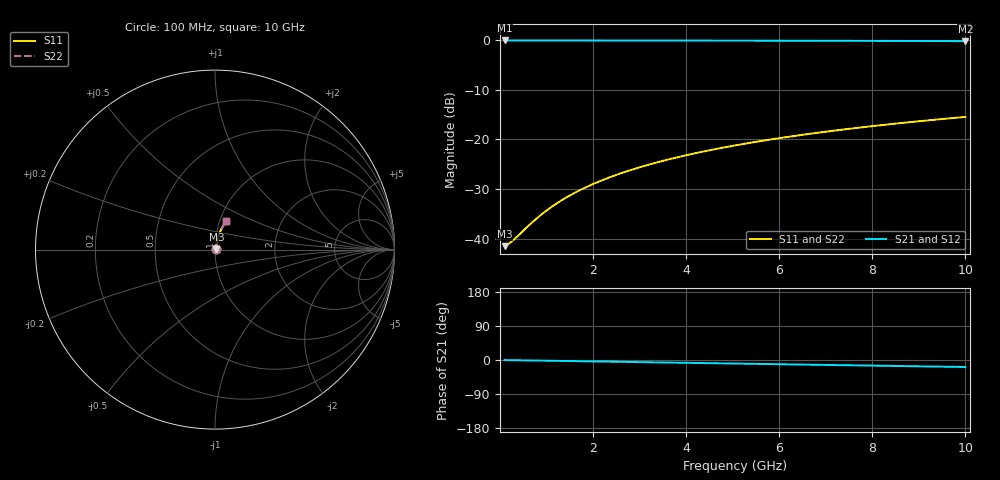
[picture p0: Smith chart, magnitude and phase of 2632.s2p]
# Hz S RI R 50.00
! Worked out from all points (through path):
!   100 points, 100 MHz to 10 GHz, reference 50 ohm
!   highest |S21| = -0.07 dB at 100 MHz (marker M1); lowest = -0.2 dB at 10 GHz (marker M2)
!   group delay of S21, straight-line fit = 5.14 ps
!   lowest |S11| = -41.5 dB at 100 MHz (marker M3), VSWR 1.02, Z = 50.8 + j0.173 ohm
!   |S11| at or under -10 dB: start of sweep to end of sweep
!   |S22| runs from -41.5 to -15.5 dB; largest |S21 - S12| = 0
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1e8  0.00826 0.0017  0.9917 -0.00322  0.9917 -0.00322  0.00826 0.0017
2e8  0.00833 0.0034  0.9917 -0.00645  0.9917 -0.00645  0.00833 0.0034
3e8  0.00839 0.0051  0.9916 -0.00967  0.9916 -0.00967  0.00839 0.0051
7e8  0.00872 0.0119  0.9912 -0.0226  0.9912 -0.0226  0.00872 0.0119
8e8  0.00882 0.0136  0.9911 -0.0258  0.9911 -0.0258  0.00882 0.0136
1e9  0.00905 0.017  0.9908 -0.0322  0.9908 -0.0322  0.00905 0.017
1.2e9  0.00933 0.0204  0.9905 -0.0386  0.9905 -0.0386  0.00933 0.0204
1.4e9  0.00964 0.0237  0.9901 -0.0451  0.9901 -0.0451  0.00964 0.0237
1.6e9  0.01 0.0271  0.9897 -0.0515  0.9897 -0.0515  0.01 0.0271
1.8e9  0.0104 0.0305  0.9892 -0.0579  0.9892 -0.0579  0.0104 0.0305
2.1e9  0.0111 0.0355  0.9884 -0.0675  0.9884 -0.0675  0.0111 0.0355
2.5e9  0.0121 0.0422  0.9871 -0.0803  0.9871 -0.0803  0.0121 0.0422
2.9e9  0.0133 0.0489  0.9856 -0.0931  0.9856 -0.0931  0.0133 0.0489
3.4e9  0.0151 0.0572  0.9835 -0.109  0.9835 -0.109  0.0151 0.0572
3.8e9  0.0167 0.0638  0.9815 -0.1217  0.9815 -0.1217  0.0167 0.0638
4.2e9  0.0185 0.0703  0.9794 -0.1344  0.9794 -0.1344  0.0185 0.0703
5.1e9  0.0231 0.0848  0.9738 -0.1626  0.9738 -0.1626  0.0231 0.0848
5.9e9  0.0278 0.0974  0.968 -0.1874  0.968 -0.1874  0.0278 0.0974
6.7e9  0.0332 0.1097  0.9614 -0.212  0.9614 -0.212  0.0332 0.1097
7.5e9  0.0393 0.1217  0.954 -0.2363  0.954 -0.2363  0.0393 0.1217
8.4e9  0.0467 0.1348  0.9448 -0.2631  0.9448 -0.2631  0.0467 0.1348
1e10  0.0618 0.1568  0.9263 -0.3097  0.9263 -0.3097  0.0618 0.1568
